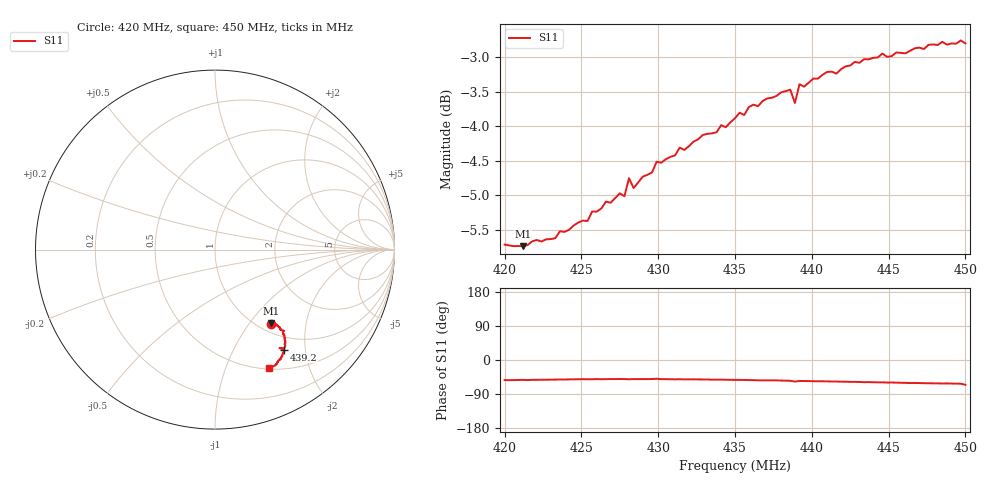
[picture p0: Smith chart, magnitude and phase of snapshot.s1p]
! Nitinol dipole ribbons pulled to maximum extension; existing SOL calibration retained
# Hz S RI R 50
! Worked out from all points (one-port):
!   101 points, 420 MHz to 450 MHz, reference 50 ohm
!   lowest |S11| = -5.7 dB at 421.2 MHz (marker M1), VSWR 3.14, Z = 57.4 - j64.2 ohm
!   |S11| at or under -10 dB: nowhere
!   S11 on the Smith chart (normalised r, x): 420 MHz: 1.13, -1.28; 439.2 MHz: 0.79, -1.62; 450 MHz: 0.51, -1.43
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4.2e8  0.3115 -0.414
4.212e8  0.3144 -0.41
4.239e8  0.33 -0.4136
4.275e8  0.3617 -0.4331
4.278e8  0.3584 -0.4322
4.281e8  0.3659 -0.4482
4.284e8  0.3631 -0.4384
4.296e8  0.3736 -0.4492
4.299e8  0.386 -0.4524
4.302e8  0.3774 -0.4583
4.311e8  0.3782 -0.4672
4.314e8  0.3853 -0.4714
4.317e8  0.3805 -0.4723
4.323e8  0.3875 -0.4775
4.35e8  0.3886 -0.5077
4.353e8  0.3932 -0.5116
4.383e8  0.3897 -0.5436
4.386e8  0.3851 -0.549
4.389e8  0.3589 -0.5489
4.392e8  0.3845 -0.5566
4.425e8  0.3734 -0.5898
4.446e8  0.3673 -0.61
4.449e8  0.359 -0.6103
4.455e8  0.3605 -0.6155
4.464e8  0.3477 -0.6252
4.467e8  0.3526 -0.6258
4.497e8  0.3353 -0.6459
4.5e8  0.2999 -0.6592
